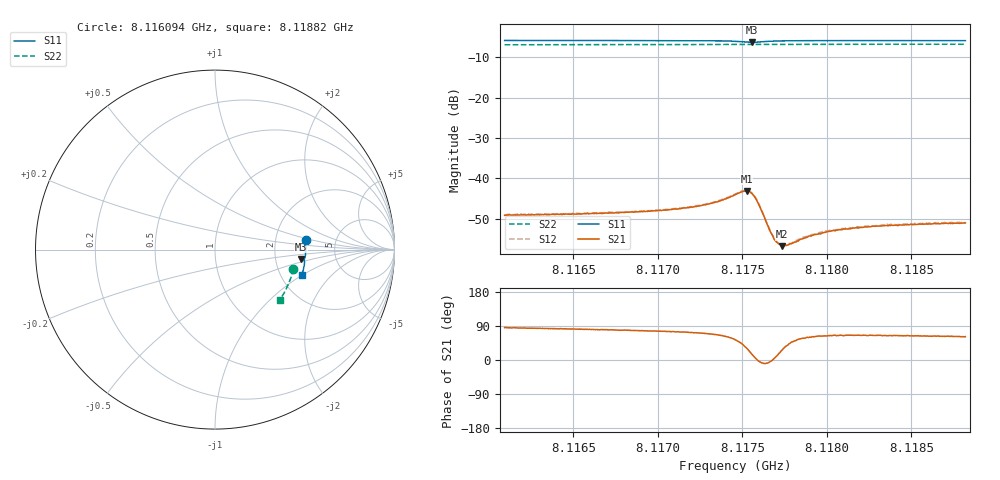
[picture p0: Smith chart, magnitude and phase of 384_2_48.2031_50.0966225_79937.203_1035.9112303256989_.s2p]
#  HZ  S  RI  R  50.00
! Rohde & Schwarz Vector Network Analyzer
! Rohde-Schwarz,ZNB20-2Port,1311601062101988,3.16
! Created: UTC 3/20/2024, 11:53:14 AM
! freq[Hz]  re:S11  im:S11  re:S21  im:S21  re:S12  im:S12  re:S22  im:S22
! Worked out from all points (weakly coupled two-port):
!   401 points, 8.116094 GHz to 8.11882 GHz, reference 50 ohm
!   highest |S21| = -43.09 dB at 8.117525 GHz (marker M1); lowest = -56.7 dB at 8.117736 GHz (marker M2)
!   lowest |S11| = -6.4 dB at 8.117559 GHz (marker M3), VSWR 2.85, Z = 139 - j18.9 ohm
!   |S11| at or under -10 dB: nowhere
!   |S22| runs from -7.0 to -6.8 dB; largest |S21 - S12| = 0.00017
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8.1160935e9  0.5046 0.0514  0.000275 0.00349  0.000334 0.00354  0.4359 -0.1074
8.1165503e9  0.5063 0.0169  0.000543 0.0036  0.000613 0.00367  0.4283 -0.1384
8.117007e9  0.5054 -0.0184  0.00097 0.00388  0.00099 0.00393  0.4187 -0.1686
8.1172729e9  0.5023 -0.0408  0.00158 0.00444  0.00166 0.00448  0.4119 -0.1862
8.1173615e9  0.4996 -0.0494  0.00213 0.00475  0.00223 0.00485  0.4095 -0.1919
8.117457e9  0.4921 -0.059  0.00373 0.00507  0.00381 0.00512  0.4065 -0.198
8.1174979e9  0.4855 -0.0608  0.005 0.00464  0.00515 0.00471  0.4051 -0.2005
8.1175251e9  0.4804 -0.059  0.00597 0.00367  0.00609 0.00365  0.4041 -0.202
8.1175592e9  0.4773 -0.0522  0.00623 0.00154  0.00637 0.00154  0.4032 -0.2038
8.1175933e9  0.4817 -0.046  0.00498 -0.000154  0.0051 -0.000178  0.4024 -0.2054
8.1176615e9  0.4933 -0.0487  0.00229 -0.000202  0.00236 -0.000234  0.4009 -0.2098
8.1176819e9  0.4952 -0.0512  0.00192 4.39e-05  0.00194 2.55e-05  0.4006 -0.2114
8.1177024e9  0.4965 -0.0536  0.00161 0.000293  0.00166 0.000264  0.4001 -0.2125
8.1177228e9  0.4974 -0.0561  0.00144 0.000512  0.00145 0.000527  0.3995 -0.2141
8.1177365e9  0.4978 -0.0577  0.0013 0.000652  0.00134 0.000656  0.399 -0.2149
8.1177842e9  0.4988 -0.0629  0.00111 0.0011  0.00113 0.00108  0.3975 -0.2179
8.117866e9  0.4989 -0.0709  0.000973 0.00154  0.000992 0.0016  0.395 -0.2232
8.1179137e9  0.4986 -0.0753  0.000936 0.00174  0.001 0.00176  0.3935 -0.2261
8.1179887e9  0.498 -0.0817  0.000954 0.00194  0.000984 0.00201  0.3909 -0.2308
8.1180841e9  0.4967 -0.0894  0.000964 0.00211  0.00104 0.00214  0.3879 -0.2368
8.1183704e9  0.4923 -0.1114  0.00113 0.00238  0.00114 0.00242  0.3777 -0.2539
8.1188204e9  0.4834 -0.1443  0.00134 0.00248  0.00136 0.00251  0.36 -0.2803
